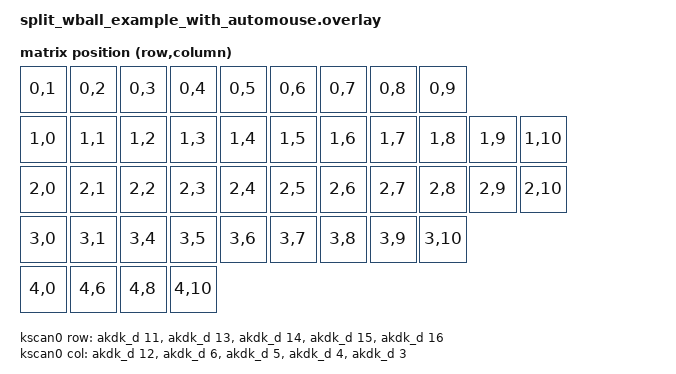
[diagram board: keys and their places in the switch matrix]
/*
 * Example configuration showing how to use the new auto mouse layer input processor
 * with the PAW3222 trackball sensor.
 */

#include <dt-bindings/zmk/matrix_transform.h>
#include <input/processors.dtsi>
#include <dt-bindings/zmk/input_transform.h>
#include <dt-bindings/input/input-event-codes.h>
#include "layouts.dtsi"

/ {
    chosen {
        zmk,physical-layout = &physical_layout0;
    };

    default_transform: keymap_transform_0 {
        compatible = "zmk,matrix-transform";
        columns = <11>;
        rows = <5>;
        map = <
            RC(0,1) RC(0,2) RC(0,3) RC(0,4) RC(0,5) RC(0,6) RC(0,7) RC(0,8) RC(0,9)
			RC(1,0) RC(1,1) RC(1,2) RC(1,3) RC(1,4) RC(1,5) RC(1,6) RC(1,7) RC(1,8) RC(1,9) RC(1,10)
			RC(2,0) RC(2,1) RC(2,2) RC(2,3) RC(2,4) RC(2,5) RC(2,6) RC(2,7) RC(2,8) RC(2,9) RC(2,10)
			RC(3,0) RC(3,1) RC(3,4) RC(3,5) RC(3,6) RC(3,7) RC(3,8) RC(3,9) RC(3,10)
			RC(4,0) RC(4,6) RC(4,8) RC(4,10)
        >;
    };

    kscan0: kscan {
        compatible = "zmk,kscan-gpio-matrix";
        wakeup-source;

        diode-direction = "col2row";
        row-gpios
            = <&akdk_d 11 (GPIO_ACTIVE_HIGH | GPIO_PULL_DOWN)>
			,<&akdk_d 13 (GPIO_ACTIVE_HIGH | GPIO_PULL_DOWN)>
			,<&akdk_d 14 (GPIO_ACTIVE_HIGH | GPIO_PULL_DOWN)>
			,<&akdk_d 15 (GPIO_ACTIVE_HIGH | GPIO_PULL_DOWN)>
			,<&akdk_d 16 (GPIO_ACTIVE_HIGH | GPIO_PULL_DOWN)>
            ;
        col-gpios
            = <&akdk_d 12 GPIO_ACTIVE_HIGH>
			,<&akdk_d 6 GPIO_ACTIVE_HIGH>
			,<&akdk_d 5 GPIO_ACTIVE_HIGH>
			,<&akdk_d 4 GPIO_ACTIVE_HIGH>
			,<&akdk_d 3 GPIO_ACTIVE_HIGH>
            ;
    };

    /* Define the auto mouse layer input processor */
    input_processors {
        auto_mouse_processor: auto_mouse_processor {
            compatible = "zmk,input-processor-auto-mouse-layer";
            #input-processor-cells = <0>;
            layer = <2>;                    // Activate layer 2 for mouse functions
            timeout-ms = <800>;             // 800ms timeout before returning to base layer
            movement-threshold = <150>;     // Require 150 units of movement to activate
        };

        xy_invert_transform: xy_invert_transform {
            compatible = "zmk,input-processor-transform";
            #input-processor-cells = <1>;
        };
    };

    /* Auto mouse behavior for manual control */
    behaviors {
        auto_mouse: auto_mouse {
            compatible = "zmk,behavior-auto-mouse";
            #binding-cells = <1>;
            layer = <2>;                    // Same layer as input processor
            timeout-ms = <800>;             // Same timeout as input processor
            enable-on-init = <1>;           // Enable auto mouse on startup
        };
    };

    /* Input listener with auto mouse processor chain */
    trackball_listener: trackball_listener {
        compatible = "zmk,input-listener";
        device = <&trackball>;
        input-processors = <
            &auto_mouse_processor
            &xy_invert_transform (INPUT_TRANSFORM_X_INVERT | INPUT_TRANSFORM_Y_INVERT)
        >;
    };

    split_inputs {
        #address-cells = <1>;
        #size-cells = <0>;

        trackball_split: trackball_split@0 {
            compatible = "zmk,input-split";
            reg = <0>;
        };
    };

    /* Split input listener (for central side) with auto mouse processor */
    trackball_split_listener: trackball_split_listener {
        compatible = "zmk,input-listener";
        device = <&trackball_split>;
        status = "okay";
        input-processors = <
            &auto_mouse_processor
            &xy_invert_transform (INPUT_TRANSFORM_X_INVERT | INPUT_TRANSFORM_Y_INVERT)
        >;
    };
};

&physical_layout0 {
    kscan = <&kscan0>;
    transform = <&default_transform>;
};

&pinctrl {
    spi0_default: spi0_default {
        group1 {
            psels = <NRF_PSEL(SPIM_SCK, 0, 12)>,
                <NRF_PSEL(SPIM_MOSI, 1, 9)>,
                <NRF_PSEL(SPIM_MISO, 1, 9)>;
        };
    };

    spi0_sleep: spi0_sleep {
        group1 {
            psels = <NRF_PSEL(SPIM_SCK, 0, 12)>,
                <NRF_PSEL(SPIM_MOSI, 1, 9)>,
                <NRF_PSEL(SPIM_MISO, 1, 9)>;
            low-power-enable;
        };
    };
};

&spi0 {
    status = "okay";
    compatible = "nordic,nrf-spim";
    pinctrl-0 = <&spi0_default>;
    pinctrl-1 = <&spi0_sleep>;
    pinctrl-names = "default", "sleep";
    cs-gpios = <&gpio0 13 GPIO_ACTIVE_LOW>;

    trackball: trackball@0 {
        status = "okay";
        compatible = "pixart,paw3222";
        reg = <0>;
        spi-max-frequency = <2000000>;
        irq-gpios = <&gpio0 15 GPIO_ACTIVE_LOW>;
        /* 
         * Note: The driver's built-in auto mouse functionality can be disabled
         * by setting these properties to -1 or removing them entirely:
         * automouse-layer = <-1>;
         * movement-threshold = <-1>;
         * movement-timeout-ms = <0>;
         */
    };
};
